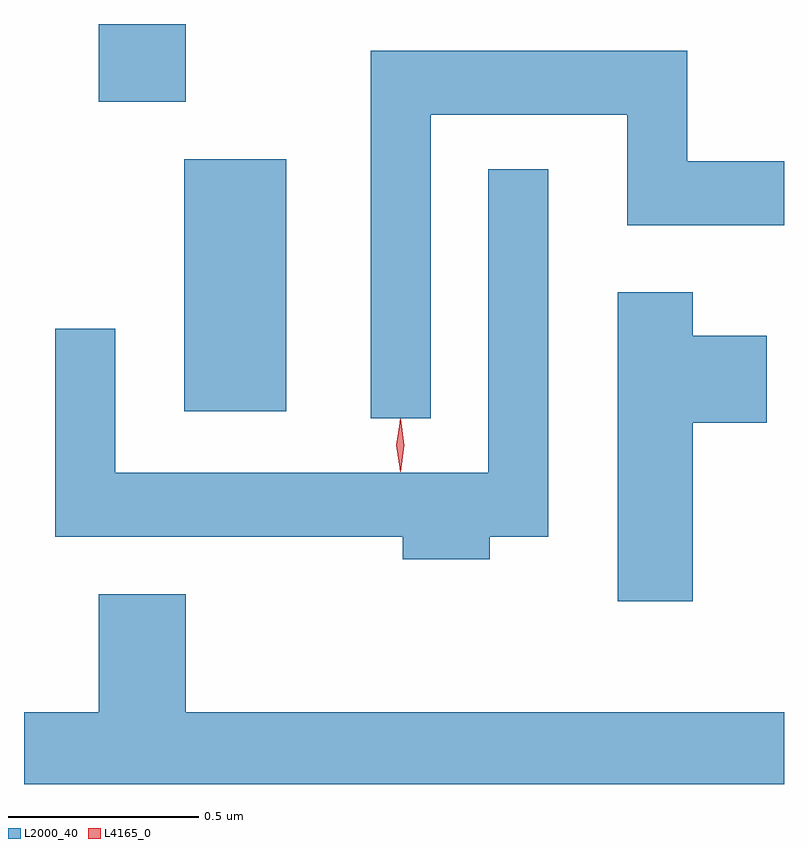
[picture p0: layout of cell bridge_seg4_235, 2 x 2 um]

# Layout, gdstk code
import gdstk
lib = gdstk.Library(unit=1e-6, precision=1e-09)
def R(c, l, rs):  # rectangles x0, y0, x1, y1
    for r in rs: c.add(gdstk.rectangle(r[:2], r[2:], *l))
def P(c, l, *ps):  # polygons
    for p in ps: c.add(gdstk.Polygon(p, *l))
L2000_40 = (2000, 40)
L4165_0 = (4165, 0)

bridge_seg4_235 = lib.new_cell('bridge_seg4_235')
R(bridge_seg4_235, L2000_40, [(607.096,1335.756,607.364,1336.419), (606.871,1336.571,607.099,1336.775)])
P(bridge_seg4_235, L2000_40, [(607.744,1336.536),(608.261,1336.536),(608.261,1336.246),(608.674,1336.246),(608.674,1336.414),(608.419,1336.414),(608.419,1336.704),(607.586,1336.704),(607.586,1335.738),(607.744,1335.738)],
  [(607.899,1335.426),(608.054,1335.426),(608.054,1336.393),(607.896,1336.393),(607.896,1335.594),(606.914,1335.594),(606.914,1335.973),(606.756,1335.973),(606.756,1335.426),(607.671,1335.426),(607.671,1335.366),(607.899,1335.366)],
  [(608.434,1335.726),(608.629,1335.726),(608.629,1335.954),(608.434,1335.954),(608.434,1336.069),(608.236,1336.069),(608.236,1335.256),(608.434,1335.256)],
  [(608.674,1334.964),(607.099,1334.964),(607.099,1335.274),(606.871,1335.274),(606.871,1334.964),(606.674,1334.964),(606.674,1334.775),(608.674,1334.775)])
P(bridge_seg4_235, L4165_0, [(607.664,1335.597),(607.655,1335.666),(607.664,1335.736),(607.665,1335.736),(607.666,1335.736),(607.675,1335.666),(607.666,1335.597),(607.665,1335.597)],
  [(607.664,1335.599),(607.664,1335.6),(607.654,1335.666),(607.664,1335.732),(607.664,1335.733),(607.665,1335.732),(607.674,1335.666),(607.665,1335.6)])

lib.write_gds('bridge_seg4_235.gds')
